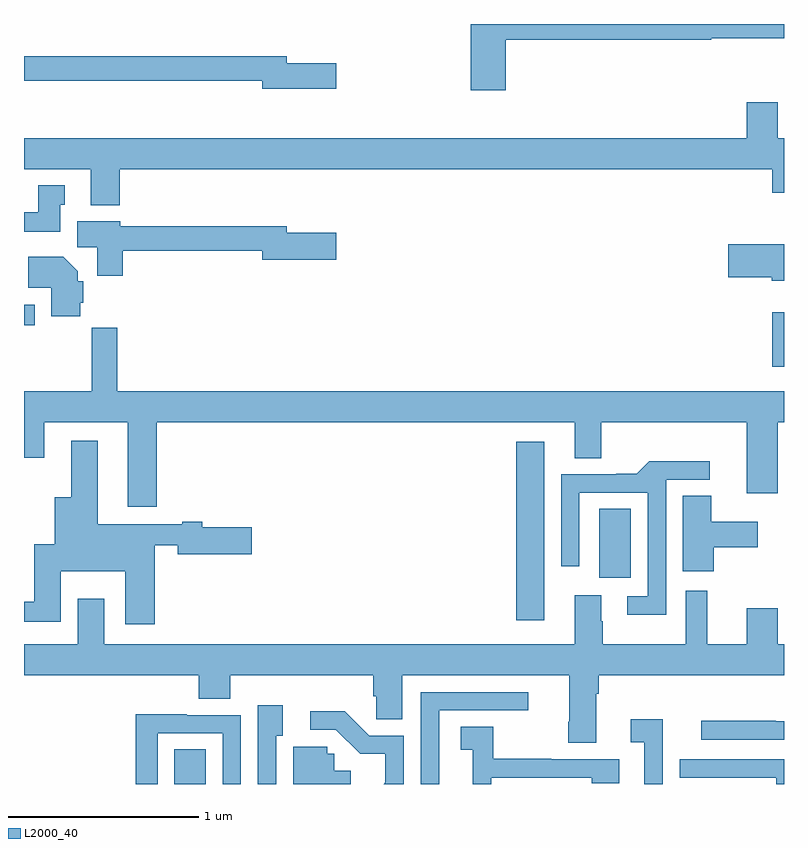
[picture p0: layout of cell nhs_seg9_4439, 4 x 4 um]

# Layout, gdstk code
import gdstk
lib = gdstk.Library(unit=1e-6, precision=1e-09)
def R(c, l, rs):  # rectangles x0, y0, x1, y1
    for r in rs: c.add(gdstk.rectangle(r[:2], r[2:], *l))
def P(c, l, *ps):  # polygons
    for p in ps: c.add(gdstk.Polygon(p, *l))
L2000_40 = (2000, 40)

nhs_seg9_4439 = lib.new_cell('nhs_seg9_4439')
R(nhs_seg9_4439, L2000_40, [(365.792,1210.5,365.956,1210.682), (367.592,1211.361,367.738,1212.301), (368.027,1211.586,368.194,1211.948), (368.939,1212.696,369,1212.982), (365,1212.915,365.056,1213.023)])
P(nhs_seg9_4439, L2000_40, [(367.535,1214.416),(368.618,1214.416),(368.618,1214.424),(369,1214.424),(369,1214.5),(367.352,1214.5),(367.352,1214.151),(367.535,1214.151)],
  [(366.643,1214.294),(366.382,1214.294),(366.382,1214.33),(365,1214.33),(365,1214.202),(366.254,1214.202),(366.254,1214.159),(366.643,1214.159)],
  [(365.504,1213.736),(368.939,1213.736),(368.939,1213.612),(369,1213.612),(369,1213.9),(368.968,1213.9),(368.968,1214.089),(368.804,1214.089),(368.804,1213.9),(365,1213.9),(365,1213.736),(365.351,1213.736),(365.351,1213.547),(365.504,1213.547)],
  [(365.191,1213.548),(365.215,1213.548),(365.215,1213.651),(365.075,1213.651),(365.075,1213.51),(365,1213.51),(365,1213.406),(365.191,1213.406)],
  [(365.519,1213.306),(366.254,1213.306),(366.254,1213.259),(366.643,1213.259),(366.643,1213.401),(366.382,1213.401),(366.382,1213.435),(365.506,1213.435),(365.506,1213.462),(365.279,1213.462),(365.279,1213.324),(365.386,1213.324),(365.386,1213.176),(365.519,1213.176)],
  [(369,1213.342),(368.706,1213.342),(368.706,1213.166),(368.936,1213.166),(368.936,1213.148),(369,1213.148)],
  [(365.297,1213.032),(365.311,1213.032),(365.311,1213.146),(365.284,1213.146),(365.284,1213.198),(365.206,1213.276),(365.023,1213.276),(365.023,1213.112),(365.144,1213.112),(365.144,1212.962),(365.297,1212.962)],
  [(365.699,1212.404),(367.898,1212.404),(367.898,1212.214),(368.038,1212.214),(368.038,1212.404),(368.804,1212.404),(368.804,1212.03),(368.968,1212.03),(368.968,1212.404),(369,1212.404),(369,1212.568),(365.492,1212.568),(365.492,1212.901),(365.356,1212.901),(365.356,1212.568),(365,1212.568),(365,1212.216),(365.107,1212.216),(365.107,1212.404),(365.546,1212.404),(365.546,1211.958),(365.699,1211.958)],
  [(365.687,1211.756),(365.81,1211.756),(365.81,1211.71),(366.199,1211.71),(366.199,1211.852),(365.938,1211.852),(365.938,1211.881),(365.834,1211.881),(365.834,1211.868),(365.389,1211.868),(365.389,1212.307),(365.249,1212.307),(365.249,1212.01),(365.162,1212.01),(365.162,1211.761),(365.054,1211.761),(365.054,1211.458),(365,1211.458),(365,1211.354),(365.194,1211.354),(365.194,1211.621),(365.534,1211.621),(365.534,1211.34),(365.687,1211.34)],
  [(368.379,1212.102),(368.608,1212.102),(368.608,1212.2),(368.291,1212.2),(368.225,1212.134),(368.117,1212.134),(368.117,1212.129),(367.827,1212.129),(367.827,1211.646),(367.923,1211.646),(367.923,1212.033),(368.283,1212.033),(368.283,1211.487),(368.175,1211.487),(368.175,1211.39),(368.379,1211.39)],
  [(368.63,1211.747),(368.863,1211.747),(368.863,1211.881),(368.617,1211.881),(368.617,1212.017),(368.468,1212.017),(368.468,1211.619),(368.63,1211.619)],
  [(368.011,1210.976),(368.024,1210.976),(368.024,1211.072),(369,1211.072),(369,1211.236),(368.968,1211.236),(368.968,1211.425),(368.804,1211.425),(368.804,1211.236),(368.596,1211.236),(368.596,1211.518),(368.483,1211.518),(368.483,1211.236),(368.046,1211.236),(368.046,1211.357),(368.038,1211.357),(368.038,1211.494),(367.898,1211.494),(367.898,1211.236),(365.422,1211.236),(365.422,1211.476),(365.282,1211.476),(365.282,1211.236),(365,1211.236),(365,1211.072),(365.921,1211.072),(365.921,1210.948),(366.086,1210.948),(366.086,1211.072),(366.839,1211.072),(366.839,1210.962),(366.853,1210.962),(366.853,1210.84),(366.991,1210.84),(366.991,1211.072),(367.871,1211.072),(367.871,1210.828),(367.864,1210.828),(367.864,1210.716),(368.011,1210.716)],
  [(367.186,1210.887),(367.654,1210.887),(367.654,1210.983),(367.089,1210.983),(367.089,1210.5),(367.186,1210.5)],
  [(366.327,1210.754),(366.361,1210.754),(366.361,1210.915),(366.231,1210.915),(366.231,1210.5),(366.327,1210.5)],
  [(366.999,1210.755),(366.816,1210.755),(366.688,1210.883),(366.507,1210.883),(366.507,1210.785),(366.642,1210.785),(366.769,1210.658),(366.902,1210.658),(366.902,1210.508),(366.894,1210.5),(366.999,1210.5)],
  [(365.703,1210.767),(366.045,1210.767),(366.045,1210.5),(366.141,1210.5),(366.141,1210.863),(365.857,1210.863),(365.857,1210.867),(365.587,1210.867),(365.587,1210.5),(365.703,1210.5)],
  [(368.361,1210.84),(368.193,1210.84),(368.193,1210.72),(368.264,1210.72),(368.264,1210.5),(368.361,1210.5)],
  [(369,1210.83),(368.957,1210.83),(368.957,1210.833),(368.565,1210.833),(368.565,1210.734),(369,1210.734)],
  [(367.458,1210.533),(367.989,1210.533),(367.989,1210.505),(368.134,1210.505),(368.134,1210.629),(367.775,1210.629),(367.775,1210.632),(367.471,1210.632),(367.471,1210.802),(367.299,1210.802),(367.299,1210.681),(367.362,1210.681),(367.362,1210.5),(367.458,1210.5)],
  [(366.721,1210.57),(366.633,1210.57),(366.633,1210.659),(366.597,1210.659),(366.597,1210.695),(366.416,1210.695),(366.416,1210.5),(366.721,1210.5)],
  [(369,1210.629),(368.451,1210.629),(368.451,1210.534),(368.563,1210.534),(368.563,1210.533),(368.959,1210.533),(368.959,1210.5),(369,1210.5)])

lib.write_gds('nhs_seg9_4439.gds')
